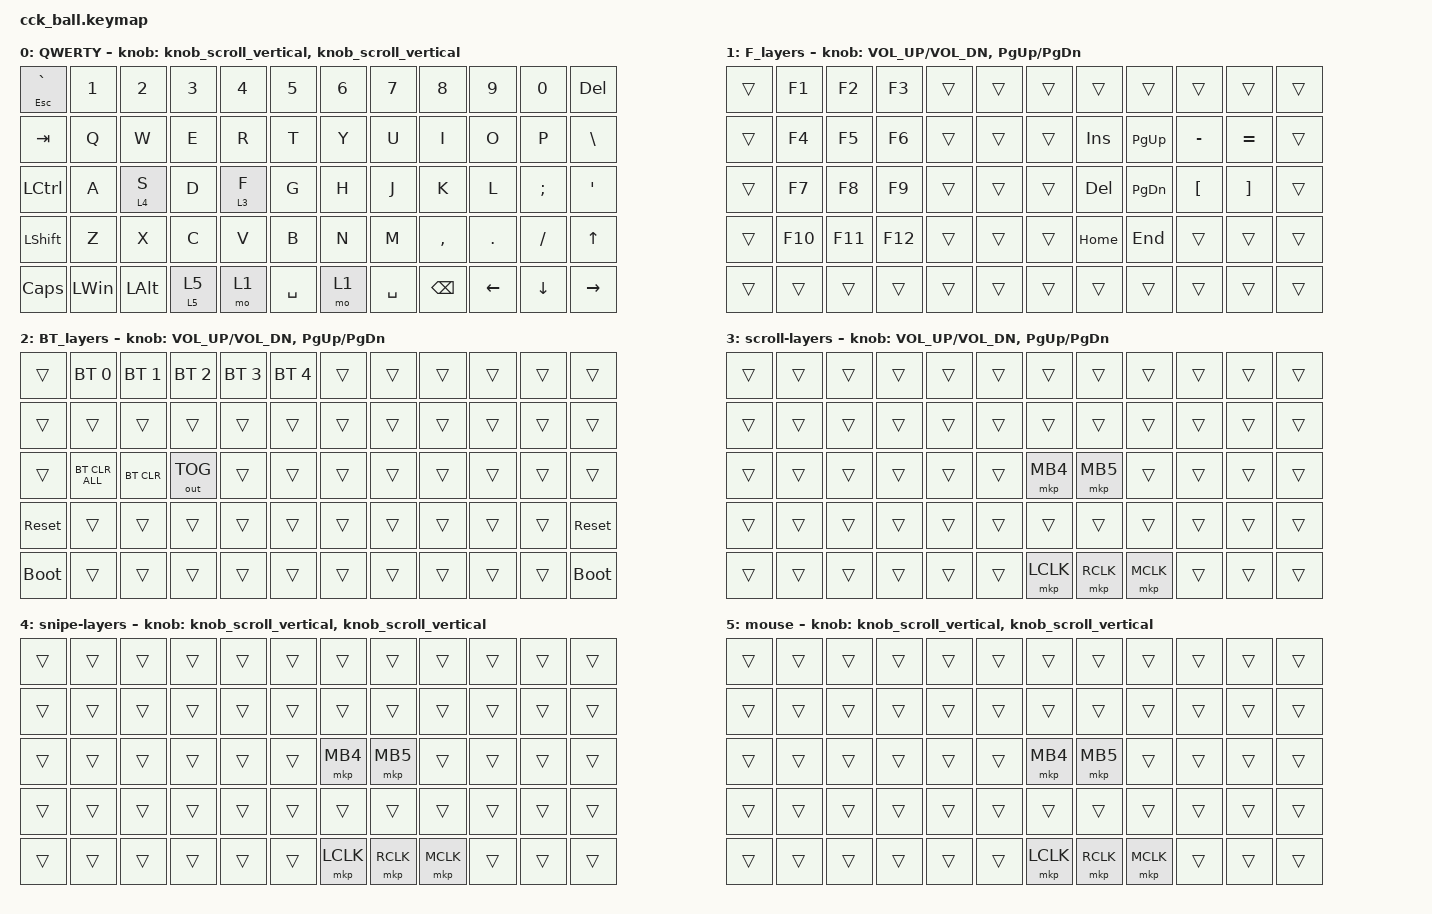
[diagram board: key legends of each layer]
#define ZMK_POINTING_DEFAULT_MOVE_VAL 1000 // 600
#define ZMK_POINTING_DEFAULT_SCRL_VAL 12   // 10

#include <input/processors.dtsi>
#include <zephyr/dt-bindings/input/input-event-codes.h>
#include <behaviors.dtsi>
#include <dt-bindings/zmk/bt.h>
#include <dt-bindings/zmk/keys.h>
#include <dt-bindings/zmk/outputs.h>
#include <dt-bindings/zmk/pointing.h>

&mmv_input_listener { input-processors = <&zip_xy_scaler 2 1>; };

&msc_input_listener { input-processors = <&zip_scroll_scaler 2 1>; };

&msc {
    acceleration-exponent = <0>;      // 0
    time-to-max-speed-ms = <300>;       // 300
    delay-ms = <0>;                   // 0
};

&mmv {
    time-to-max-speed-ms = <500>;
    acceleration-exponent = <1>;
    trigger-period-ms = <16>;
};

&soft_off { hold-time-ms = <2000>; };

/ {
    // 上下滚动编码器行为

    scroll_vertical_encoder: scroll_vertical_encoder {
        compatible = "zmk,behavior-sensor-rotate";
        #sensor-binding-cells = <0>;
        bindings = <&msc SCRL_DOWN>, <&msc SCRL_UP>;

        tap-ms = <100>;
    };

    // 左右滚动编码器行为

    scroll_horizontal_encoder: scroll_horizontal_encoder {
        compatible = "zmk,behavior-sensor-rotate";
        #sensor-binding-cells = <0>;
        bindings = <&msc SCRL_LEFT>, <&msc SCRL_RIGHT>;

        tap-ms = <100>;
    };

    mouse_holdtap: mouse_holdtap {
        compatible = "zmk,behavior-hold-tap";
        label = "MOUSE_HOLDTAP";
        bindings = <&mo>, <&tog>;

        #binding-cells = <2>;
        tapping-term-ms = <200>;
        quick-tap-ms = <130>;
        flavor = "hold-preferred";
    };

    hm: homerow_mods {
        compatible = "zmk,behavior-hold-tap";
        label = "HOMEROW_MODS";
        bindings = <&kp>, <&kp>;

        #binding-cells = <2>;
        tapping-term-ms = <200>;
        quick-tap-ms = <130>;
        flavor = "tap-preferred";
    };

    knob_scroll_vertical: knob_scroll_vertical {
        compatible = "zmk,behavior-sensor-rotate";
        #sensor-binding-cells = <0>;
        bindings = <&msc SCRL_UP>, <&msc SCRL_DOWN>;

        tap-ms = <100>;
        label = "KNOB_SCROLL_VERTICAL";
    };

    behaviors {
    };

    combos {
        compatible = "zmk,combos";

        en_ko {
            bindings = <&kp RIGHT_ALT>;
            key-positions = <44 45>;
            timeout-ms = <350>;
            layers = <0>;
        };

        bt_1 {
            bindings = <&mo 2>;
            key-positions = <53 52>;
            timeout-ms = <350>;
            layers = <0>;
        };

        win_lock {
            bindings = <&kp LG(L)>;
            key-positions = <51 52 53>;
            timeout-ms = <350>;
            layers = <0>;
        };

        enter {
            bindings = <&kp ENTER>;
            key-positions = <34 33>;
        };

        enter_2 {
            bindings = <&kp ENTER>;
            key-positions = <34 35>;
        };

        bt_2 {
            bindings = <&mo 2>;
            key-positions = <54 55>;
            timeout-ms = <350>;
            layers = <0>;
        };
    };

    keymap {
        compatible = "zmk,keymap";

        QWERTY {
            bindings = <
&hm ESC GRAVE   &kp N1        &kp N2        &kp N3              &kp N4   &kp N5     &kp N6  &kp N7     &kp N8         &kp N9          &kp N0          &kp DELETE
&kp TAB         &kp Q         &kp W         &kp E               &kp R    &kp T      &kp Y   &kp U      &kp I          &kp O           &kp P           &kp BSLH
&kp LCTRL       &kp A         &lt 4 S       &kp D               &lt 3 F  &kp G      &kp H   &kp J      &kp K          &kp L           &kp SEMI        &kp SQT
&kp LEFT_SHIFT  &kp Z         &kp X         &kp C               &kp V    &kp B      &kp N   &kp M      &kp COMMA      &kp DOT         &kp FSLH        &kp UP_ARROW
&kp CAPSLOCK    &kp LEFT_WIN  &kp LEFT_ALT  &mouse_holdtap 5 5  &mo 1    &kp SPACE  &mo 1   &kp SPACE  &kp BACKSPACE  &kp LEFT_ARROW  &kp DOWN_ARROW  &kp RIGHT_ARROW
            >;

            sensor-bindings = <&knob_scroll_vertical>, <&knob_scroll_vertical>;
        };

        F_layers {
            bindings = <
&trans  &kp F1   &kp F2   &kp F3   &trans  &trans  &trans  &trans      &trans     &trans     &trans     &trans
&trans  &kp F4   &kp F5   &kp F6   &trans  &trans  &trans  &kp INSERT  &kp PG_UP  &kp MINUS  &kp EQUAL  &trans
&trans  &kp F7   &kp F8   &kp F9   &trans  &trans  &trans  &kp DELETE  &kp PG_DN  &kp LBKT   &kp RBKT   &trans
&trans  &kp F10  &kp F11  &kp F12  &trans  &trans  &trans  &kp HOME    &kp END    &trans     &trans     &trans
&trans  &trans   &trans   &trans   &trans  &trans  &trans  &trans      &trans     &trans     &trans     &trans
            >;

            sensor-bindings = <&inc_dec_kp C_VOL_UP C_VOL_DN &inc_dec_kp PG_UP PG_DN>;
        };

        BT_layers {
            bindings = <
&trans       &bt BT_SEL 0    &bt BT_SEL 1  &bt BT_SEL 2  &bt BT_SEL 3  &bt BT_SEL 4  &trans  &trans  &trans  &trans  &trans  &trans
&trans       &trans          &trans        &trans        &trans        &trans        &trans  &trans  &trans  &trans  &trans  &trans
&trans       &bt BT_CLR_ALL  &bt BT_CLR    &out OUT_TOG  &trans        &trans        &trans  &trans  &trans  &trans  &trans  &trans
&sys_reset   &trans          &trans        &trans        &trans        &trans        &trans  &trans  &trans  &trans  &trans  &sys_reset
&bootloader  &trans          &trans        &trans        &trans        &trans        &trans  &trans  &trans  &trans  &trans  &bootloader
            >;

            sensor-bindings = <&inc_dec_kp C_VOL_UP C_VOL_DN &inc_dec_kp PG_UP PG_DN>;
        };

        scroll-layers {
            bindings = <
&trans  &trans  &trans  &trans  &trans  &trans  &trans     &trans     &trans     &trans  &trans  &trans
&trans  &trans  &trans  &trans  &trans  &trans  &trans     &trans     &trans     &trans  &trans  &trans
&trans  &trans  &trans  &trans  &trans  &trans  &mkp MB4   &mkp MB5   &trans     &trans  &trans  &trans
&trans  &trans  &trans  &trans  &trans  &trans  &trans     &trans     &trans     &trans  &trans  &trans
&trans  &trans  &trans  &trans  &trans  &trans  &mkp LCLK  &mkp RCLK  &mkp MCLK  &trans  &trans  &trans
            >;

            sensor-bindings = <&inc_dec_kp C_VOL_UP C_VOL_DN &inc_dec_kp PG_UP PG_DN>;
        };

        snipe-layers {
            bindings = <
&trans  &trans  &trans  &trans  &trans  &trans  &trans     &trans     &trans     &trans  &trans  &trans
&trans  &trans  &trans  &trans  &trans  &trans  &trans     &trans     &trans     &trans  &trans  &trans
&trans  &trans  &trans  &trans  &trans  &trans  &mkp MB4   &mkp MB5   &trans     &trans  &trans  &trans
&trans  &trans  &trans  &trans  &trans  &trans  &trans     &trans     &trans     &trans  &trans  &trans
&trans  &trans  &trans  &trans  &trans  &trans  &mkp LCLK  &mkp RCLK  &mkp MCLK  &trans  &trans  &trans
            >;

            sensor-bindings = <&knob_scroll_vertical>, <&knob_scroll_vertical>;

            // 编码器2：左右滚动
        };

        mouse {
            bindings = <
&trans  &trans  &trans  &trans  &trans  &trans  &trans     &trans     &trans     &trans  &trans  &trans
&trans  &trans  &trans  &trans  &trans  &trans  &trans     &trans     &trans     &trans  &trans  &trans
&trans  &trans  &trans  &trans  &trans  &trans  &mkp MB4   &mkp MB5   &trans     &trans  &trans  &trans
&trans  &trans  &trans  &trans  &trans  &trans  &trans     &trans     &trans     &trans  &trans  &trans
&trans  &trans  &trans  &trans  &trans  &trans  &mkp LCLK  &mkp RCLK  &mkp MCLK  &trans  &trans  &trans
            >;

            sensor-bindings = <&knob_scroll_vertical>, <&knob_scroll_vertical>;
        };
    };
};
